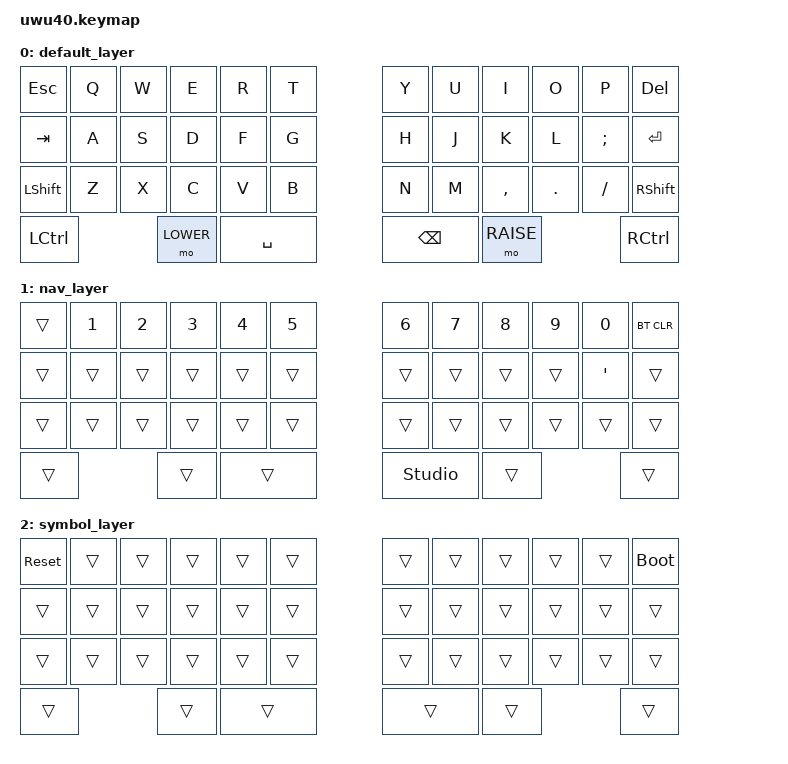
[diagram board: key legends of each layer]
/*
 * Copyright (c) 2023 The ZMK Contributors
 *
 * SPDX-License-Identifier: MIT
 */

#define DEFAULT 0
#define LOWER   1
#define RAISE   2

#include <behaviors.dtsi>
#include <dt-bindings/zmk/keys.h>
#include <dt-bindings/zmk/bt.h>
#include <dt-bindings/zmk/outputs.h>
#include <dt-bindings/zmk/bt.h>

/ {
    keymap {
        compatible = "zmk,keymap";

        default_layer {
            bindings = <
    &kp ESC     &kp Q     &kp W     &kp E      &kp R     &kp T                 &kp Y    &kp U     &kp I     &kp O    &kp P    &kp DEL
    &kp TAB     &kp A     &kp S     &kp D      &kp F     &kp G                 &kp H    &kp J     &kp K     &kp L    &kp SEMI &kp RET                   
    &kp LSHIFT  &kp Z     &kp X     &kp C      &kp V     &kp B                 &kp N    &kp M     &kp COMMA &kp DOT  &kp FSLH &kp RSHIFT  
    &kp LCTRL                     &mo LOWER      &kp SPACE                       &kp BSPC         &mo RAISE                   &kp RCTRL 
            >;
        };

        nav_layer {
            bindings = <
    &trans     &kp N1    &kp N2    &kp N3     &kp N4    &kp N5                &kp N6   &kp N7  &kp N8  &kp N9  &kp N0  &bt BT_CLR
    &trans     &trans    &trans    &trans     &trans    &trans                &trans   &trans  &trans  &trans  &kp SQT &trans                   
    &trans     &trans    &trans    &trans     &trans    &trans                &trans   &trans  &trans  &trans  &trans  &trans  
    &trans                         &trans          &trans                     &studio_unlock   &trans                  &trans
            >;
        };

        symbol_layer {
            bindings = <
    &sys_reset &trans    &trans    &trans     &trans    &trans              &trans   &trans  &trans  &trans  &trans  &bootloader
    &trans     &trans    &trans    &trans     &trans    &trans              &trans   &trans  &trans  &trans  &trans  &trans                   
    &trans     &trans    &trans    &trans     &trans    &trans              &trans   &trans  &trans  &trans  &trans  &trans  
    &trans                         &trans          &trans                        &trans      &trans                  &trans
            >;
        };
    };
};
